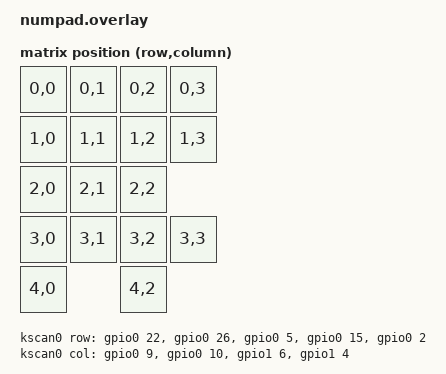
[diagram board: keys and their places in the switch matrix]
#include <dt-bindings/zmk/matrix_transform.h>
#include <dt-bindings/led/led.h>
#include <zephyr/dt-bindings/input/input-event-codes.h>
#include <dt-bindings/zmk/input_transform.h>
#include "numpad-layouts.dtsi"


&physical_layout0 {
    transform = <&default_transform>;
};

/ {
    chosen {
        zmk,kscan = &kscan0;
        zmk,physical-layout = &physical_layout0;
        zmk,studio-rpc-uart = &uart0;
        zmk,underglow = &led_strip;
        //zephyr,display = &oled;
    };

    kscan0: kscan {
        compatible = "zmk,kscan-gpio-matrix";
        wakeup-source;

        diode-direction = "col2row";
        row-gpios
            = <&gpio0 22 (GPIO_ACTIVE_HIGH | GPIO_PULL_DOWN)>
            , <&gpio0 26 (GPIO_ACTIVE_HIGH | GPIO_PULL_DOWN)>
            , <&gpio0 5 (GPIO_ACTIVE_HIGH | GPIO_PULL_DOWN)>
            , <&gpio0 15 (GPIO_ACTIVE_HIGH | GPIO_PULL_DOWN)>
            , <&gpio0 2  (GPIO_ACTIVE_HIGH | GPIO_PULL_DOWN)>
            ;
        col-gpios
            = <&gpio0 9 GPIO_ACTIVE_HIGH>
            , <&gpio0 10 GPIO_ACTIVE_HIGH>
            , <&gpio1 6 GPIO_ACTIVE_HIGH>
            , <&gpio1 4 GPIO_ACTIVE_HIGH>
            ;
    };

    default_transform: matrix_transform {
        compatible = "zmk,matrix-transform";
        rows = <5>;
        columns = <4>;
        // ┌───┬───┬───┬───┐
        // │NUM│ / │ * │ - │
        // ├───┼───┼───┼───┤
        // │ 7 │ 8 │ 9 │ + │
        // ├───┼───┼───┤   │
        // │ 4 │ 5 │ 6 │   │
        // ├───┼───┼───┼───┤
        // │ 1 │ 2 │ 3 │RET│
        // ├───┴───┼───┤   │
        // │ 0     │ . │   │
        // └───────┴───┴───┘
        map = <
            RC(0,0) RC(0,1) RC(0,2) RC(0,3)
            RC(1,0) RC(1,1) RC(1,2) RC(1,3)
            RC(2,0) RC(2,1) RC(2,2)
            RC(3,0) RC(3,1) RC(3,2) RC(3,3)
            RC(4,0)         RC(4,2)
        >;
    };
};

//ws2812
&pinctrl {
    //for oled
//for pmw3610
    spi0_default: spi0_default {
        group1 {
            psels = <NRF_PSEL(SPIM_SCK, 0, 8)>,
                <NRF_PSEL(SPIM_MOSI, 0, 17)>,
                <NRF_PSEL(SPIM_MISO, 0, 17)>;
        };
    };

    spi0_sleep: spi0_sleep {
        group1 {
            psels = <NRF_PSEL(SPIM_SCK, 0, 8)>,
                <NRF_PSEL(SPIM_MOSI, 0, 17)>,
                <NRF_PSEL(SPIM_MISO, 0, 17)>;
            low-power-enable;
        };
    };

//for ws2812
    spi3_default: spi3_default {
        group1 {
            psels = <NRF_PSEL(SPIM_MOSI, 0, 24)>;
        };
    };

    spi3_sleep: spi3_sleep {
        group1 {
            psels = <NRF_PSEL(SPIM_MOSI, 0, 24)>;
            low-power-enable;
        };
    };
};

//oled
//pmw3610
&spi0 {
    status = "okay";
    compatible = "nordic,nrf-spim";
    pinctrl-0 = <&spi0_default>;
    pinctrl-1 = <&spi0_sleep>;
    pinctrl-names = "default", "sleep";
    cs-gpios = <&gpio0 20 GPIO_ACTIVE_LOW>;

   trackball: trackball@0 {
        status = "okay";
        compatible = "pixart,pmw3610";
        reg = <0>;
        spi-max-frequency = <2000000>;
        irq-gpios = <&gpio0 6 (GPIO_ACTIVE_LOW | GPIO_PULL_UP)>;
        cpi = <600>;
        evt-type = <INPUT_EV_REL>;
        x-input-code = <INPUT_REL_X>;
        y-input-code = <INPUT_REL_Y>;
        force-awake;
        /* keep the sensor awake while ZMK activity state is ACTIVE,
           fallback to normal downshift mode after ZMK goes into IDLE / SLEEP mode.
           thus, the sensor would be a `wakeup-source` */

        force-awake-4ms-mode;
        /* while force-awake is acitvated, enable this mode to force sampling per 
           4ms, where the default sampling rate is 8ms. */
        /* NOTE: apply this mode if you need 250Hz with direct USB connection. */

        /*   optional features   */
        // snipe-layers = <1>;
        // scroll-layers = <2 3>;
        // automouse-layer = <4>;
    };
};

/ {
  trackball_listener {
    compatible = "zmk,input-listener";
    device = <&trackball>;
  };
};

//ws2812
&spi3 {
    compatible = "nordic,nrf-spim";
    status = "okay";

    pinctrl-0 = <&spi3_default>;
    pinctrl-1 = <&spi3_sleep>;
    pinctrl-names = "default", "sleep";

    led_strip: ws2812@0 {
        compatible = "worldsemi,ws2812-spi";

        /* SPI */
        reg = <0>; /* ignored, but necessary for SPI bindings */
        spi-max-frequency = <4000000>;

        /* WS2812 */
        chain-length = <17>; /* arbitrary; change at will */
        spi-one-frame = <0x70>;
        spi-zero-frame = <0x40>;

        color-mapping = <LED_COLOR_ID_GREEN LED_COLOR_ID_RED LED_COLOR_ID_BLUE>;
    };
};

//pmw3610

